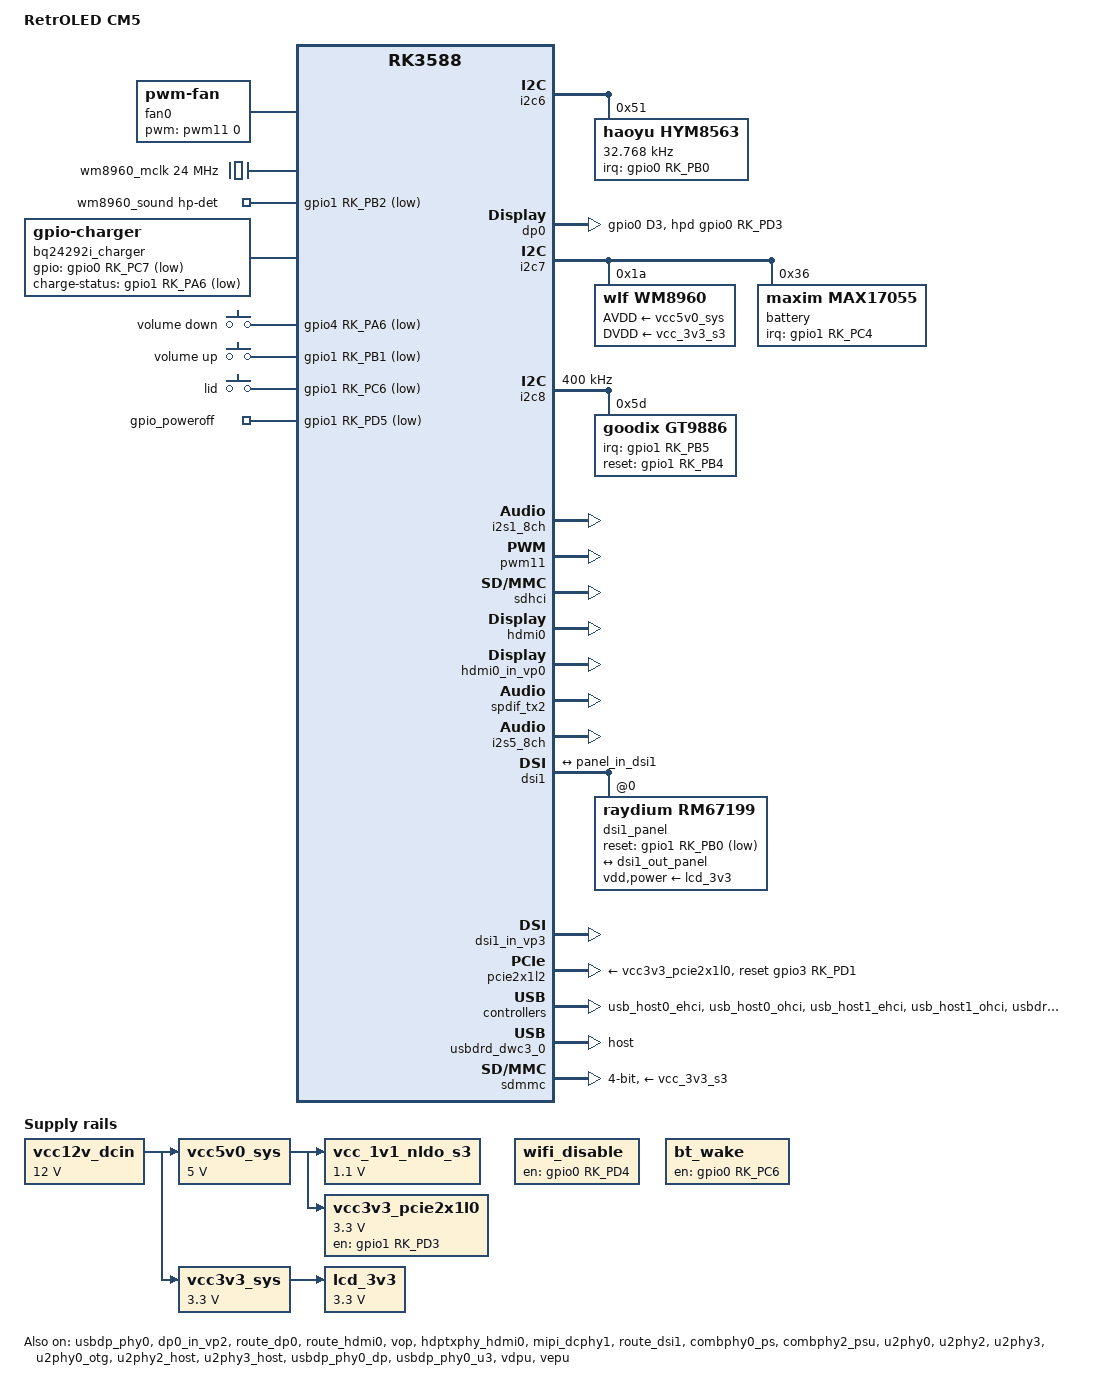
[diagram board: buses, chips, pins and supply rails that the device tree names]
// SPDX-License-Identifier: (GPL-2.0+ OR MIT)
/*
 * Copyright (c) 2024 StonedEdge and GinKage
 *
 */

/dts-v1/;

#include "rk3588s-radxa-cm5.dtsi"
#include <dt-bindings/interrupt-controller/irq.h>
#include <dt-bindings/gpio/gpio.h>
#include <dt-bindings/pinctrl/rockchip.h>

/ {
	model = "RetrOLED CM5";
	compatible = "retroled,cm5", "radxa,cm5", "rockchip,rk3588";

	/delete-node/ chosen;

	vcc12v_dcin: vcc12v-dcin {
		compatible = "regulator-fixed";
		regulator-name = "vcc12v_dcin";
		regulator-always-on;
		regulator-boot-on;
		regulator-min-microvolt = <12000000>;
		regulator-max-microvolt = <12000000>;
	};

	vcc5v0_sys: vcc5v0-sys {
		compatible = "regulator-fixed";
		regulator-name = "vcc5v0_sys";
		regulator-always-on;
		regulator-boot-on;
		regulator-min-microvolt = <5000000>;
		regulator-max-microvolt = <5000000>;
		vin-supply = <&vcc12v_dcin>;
	};

	vcc_1v1_nldo_s3: vcc-1v1-nldo-s3 {
		compatible = "regulator-fixed";
		regulator-name = "vcc_1v1_nldo_s3";
		regulator-always-on;
		regulator-boot-on;
		regulator-min-microvolt = <1100000>;
		regulator-max-microvolt = <1100000>;
		vin-supply = <&vcc5v0_sys>;
	};

	hdmi0_sound: hdmi0-sound {
		status = "okay";
		compatible = "rockchip,hdmi";
		rockchip,mclk-fs = <128>;
		rockchip,card-name = "rockchip-hdmi0";
		rockchip,cpu = <&i2s5_8ch>;
		rockchip,codec = <&hdmi0>;
		rockchip,jack-det;
	};

	dp0_sound: dp0-sound {
		status = "okay";
		compatible = "rockchip,hdmi";
		rockchip,card-name= "rockchip-hdmi1";
		rockchip,mclk-fs = <512>;
		rockchip,cpu = <&spdif_tx2>;
		rockchip,codec = <&dp0 1>;
		rockchip,jack-det;
	};

	vcc3v3_sys: vcc3v3-sys {
		compatible = "regulator-fixed";
		regulator-name = "vcc3v3_sys";
		regulator-always-on;
		regulator-boot-on;
		regulator-min-microvolt = <3300000>;
		regulator-max-microvolt = <3300000>;
		vin-supply = <&vcc12v_dcin>;
	};

	vcc3v3_pcie2x1l0: vcc3v3-pcie2x1l0 {
		compatible = "regulator-fixed";
		regulator-name = "vcc3v3_pcie2x1l0";
		regulator-min-microvolt = <3300000>;
		regulator-max-microvolt = <3300000>;
		enable-active-high;
		regulator-boot-on;
		regulator-always-on;
		gpios = <&gpio1 RK_PD3 GPIO_ACTIVE_HIGH>;
		startup-delay-us = <50000>;
		vin-supply = <&vcc5v0_sys>;
	};

	wifi_disable: wifi-diable-gpio-regulator {
		compatible = "regulator-fixed";
		regulator-name = "wifi_disable";
		enable-active-high;
		gpio = <&gpio0 RK_PD4 GPIO_ACTIVE_HIGH>;
		regulator-boot-on;
		regulator-always-on;
	};

	bt_wake: bt-wake-gpio-regulator {
		compatible = "regulator-fixed";
		regulator-name = "bt_wake";
		enable-active-high;
		gpio = <&gpio0 RK_PC6 GPIO_ACTIVE_HIGH>;
		regulator-boot-on;
		regulator-always-on;
	};

	fan0: pwm-fan {
		compatible = "pwm-fan";
		#cooling-cells = <2>;
		cooling-levels = <15 55 95 135 175 215 255>;
		pwms = <&pwm11 0 40000 0>;
	};

	wm8960_mclk: wm8960-mclk {
		compatible = "fixed-clock";
		#clock-cells = <0>;
		clock-frequency = <24000000>;
	};

	wm8960_sound: wm8960-sound {
		status = "okay";
		compatible = "simple-audio-card";
		simple-audio-card,format = "i2s";
		simple-audio-card,name = "wm8960-soundcard";
		simple-audio-card,mclk-fs = <256>;
		simple-audio-card,widgets =
			"Microphone", "Mic Jack",
			"Line", "Line In",
			"Line", "Line Out",
			"Speaker", "Speaker",
			"Headphone", "Headphone Jack";
		simple-audio-card,routing =
			"Headphone Jack", "HP_L",
			"Headphone Jack", "HP_R",
			"Speaker", "SPK_LP",
			"Speaker", "SPK_LN",
			"LINPUT1", "Mic Jack",
			"LINPUT3", "Mic Jack",
			"RINPUT1", "Mic Jack",
			"RINPUT2", "Mic Jack";
		pinctrl-0 = <&hp_det>;
		pinctrl-names = "default";
		simple-audio-card,hp-det-gpio = <&gpio1 RK_PB2 GPIO_ACTIVE_LOW>;
		simple-audio-card,hp-pin-name = "Headphone Jack";
		sac_cpu: simple-audio-card,cpu {
			sound-dai = <&i2s1_8ch>;
		};
		sac_codec: simple-audio-card,codec {
			sound-dai = <&wm8960>;
			clocks = <&wm8960_mclk>;
			clock-names = "mclk";
		};
	};

	lcd_3v3: lcd-3v3 {
		compatible = "regulator-fixed";
		regulator-name = "lcd_3v3";
		regulator-always-on;
		regulator-boot-on;
		regulator-min-microvolt = <3300000>;
		regulator-max-microvolt = <3300000>;
		vin-supply = <&vcc3v3_sys>;
	};

	bq24292i_charger: charger {
		compatible = "gpio-charger";
		charger-type = "usb-sdp";
		gpios = <&gpio0 RK_PC7 GPIO_ACTIVE_LOW>;
		charge-status-gpios = <&gpio1 RK_PA6 GPIO_ACTIVE_LOW>;
		pinctrl-names = "default";
		pinctrl-0 = <&bq24292i_gpio>;
	};

	gpio_keys: gpio-keys {
		compatible = "gpio-keys";
		pinctrl-names = "default";
		pinctrl-0 = <&volume_keys>;

		key-vol-down {
			label = "volume down";
			linux,code = <KEY_VOLUMEDOWN>;
			gpios = <&gpio4 RK_PA6 GPIO_ACTIVE_LOW>;
		};

		key-vol-up {
			label = "volume up";
			linux,code = <KEY_VOLUMEUP>;
			gpios = <&gpio1 RK_PB1 GPIO_ACTIVE_LOW>;
		};

		key-power {
			label = "lid";
			linux,code = <SW_LID>;
			linux,input-type = <EV_SW>;
			gpios = <&gpio1 RK_PC6 GPIO_ACTIVE_LOW>;
		};
	};

	gpio_poweroff: gpio-poweroff {
		compatible = "gpio-poweroff";
		pinctrl-names = "default";
		pinctrl-0 = <&poweroff_gpio>;
		gpios = <&gpio1 RK_PD5 GPIO_ACTIVE_LOW>;
	};
};

&i2c6 {
	status = "okay";
	pinctrl-names = "default";
	pinctrl-0 = <&i2c6m3_xfer>;

	hym8563: hym8563@51 {
		compatible = "haoyu,hym8563";
		reg = <0x51>;
		#clock-cells = <0>;
		clock-frequency = <32768>;
		clock-output-names = "hym8563";
		pinctrl-names = "default";
		pinctrl-0 = <&rtc_int>;
		interrupt-parent = <&gpio0>;
		interrupts = <RK_PB0 IRQ_TYPE_LEVEL_LOW>;
	};
};

&usbdp_phy0 {
	status = "okay";
	rockchip,dp-lane-mux = <0 1 3 2>;
};

&dp0 {
	// force-hpd;
	status = "okay";
	pinctrl-names = "default";
	pinctrl-0 = <&dp0_hpd>;
	hpd-gpios = <&gpio0 RK_PD3 GPIO_ACTIVE_HIGH>;
};

&dp0_in_vp2 {
	status = "okay";
};

&route_dp0 {
	status = "okay";
	connect = <&vp2_out_dp0>;
};

&i2c7 {
	status = "okay";
	pinctrl-names = "default";
	pinctrl-0 = <&i2c7m2_xfer>;
	#address-cells = <1>;
	#size-cells = <0>;

	wm8960: wm8960@1a {
		compatible = "wlf,wm8960";
		reg = <0x1a>;
		#sound-dai-cells = <0>;
		AVDD-supply = <&vcc5v0_sys>;
		DVDD-supply = <&vcc_3v3_s3>;
	};

	battery: battery@36 {
		compatible = "maxim,max17055";
		reg = <0x36>;
		interrupt-parent = <&gpio1>;
		interrupts = <RK_PC4 IRQ_TYPE_LEVEL_LOW>;
		pinctrl-names = "default";
		pinctrl-0 = <&fuel_gauge>;
		power-supplies = <&bq24292i_charger>;
		maxim,rsns-microohm = <10000>;
		maxim,over-heat-temp = <800>;
		maxim,dead-volt = <3100>;
		maxim,over-volt = <4300>;
	};
};

&i2c8 {
	status = "okay";
	pinctrl-names = "default";
	pinctrl-0 = <&i2c8m2_xfer>;
	clock-frequency = <400000>;
	#address-cells = <1>;
	#size-cells = <0>;

	gt9886: gt9886@5d {
		status = "okay";
		compatible = "goodix,gt9886";
		reg = <0x5d>;
		pinctrl-names = "default";
		pinctrl-0 = <&gtx8_gpio>;
		interrupt-parent = <&gpio1>;
		interrupts = <RK_PB5 IRQ_TYPE_EDGE_FALLING>;
		goodix,irq-gpio = <&gpio1 RK_PB5 GPIO_ACTIVE_HIGH>;
		goodix,reset-gpio = <&gpio1 RK_PB4 GPIO_ACTIVE_HIGH>;
		goodix,irq-flags = <2>; /* 1:trigger rising, 2:trigger falling;*/
		goodix,panel-max-x = <1080>;
		goodix,panel-max-y = <1920>;
		goodix,panel-max-w = <255>;
	};
};

&i2s1_8ch {
	status = "okay";
	rockchip,playback-channels = <2>;
	rockchip,capture-channels = <2>;
	rockchip,i2s-tx-route = <1 0 2 3>;
	rockchip,i2s-rx-route = <0 1 2 3>;
	#sound-dai-cells = <0>;
	pinctrl-names = "default";
	pinctrl-0 = <&i2s1m0_sclk
			&i2s1m0_lrck
			&i2s1m0_sdi0
			&i2s1m0_sdo1>;
};

&pwm11 {
	status = "okay";
	pinctrl-0 = <&pwm11m3_pins>;
};

&threshold {
	temperature = <50000>;
};

&soc_thermal {
	sustainable-power = <5000>; /* milliwatts */
	polling-delay = <1000>;
	polling-delay-passive = <2000>;
	trips {
		trip0: trip-point@0 {
			temperature = <55000>;
			hysteresis = <5000>;
			type = "active";
		};
		trip1: trip-point@1 {
			temperature = <60000>;
			hysteresis = <5000>;
			type = "active";
		};
		trip2: trip-point@2 {
			temperature = <65000>;
			hysteresis = <5000>;
			type = "active";
		};
		trip3: trip-point@3 {
			temperature = <70000>;
			hysteresis = <5000>;
			type = "active";
		};
		trip4: trip-point@4 {
			temperature = <75000>;
			hysteresis = <5000>;
			type = "active";
		};
		pcritical: trip-point@5 {
			temperature = <80000>;
			hysteresis = <5000>;
			type = "active";
		};
	};
	cooling-maps {
		map0 {
			trip = <&trip0>;
			cooling-device = <&fan0 0 1>;
			contribution = <1024>;
		};
		map1 {
			trip = <&trip1>;
			cooling-device = <&fan0 1 2>;
			contribution = <1024>;
		};
		map2 {
			trip = <&trip2>;
			cooling-device = <&fan0 2 3>;
			contribution = <1024>;
		};
		map3 {
			trip = <&trip3>;
			cooling-device = <&fan0 3 4>;
			contribution = <1024>;
		};
		map4 {
			trip = <&trip4>;
			cooling-device = <&fan0 4 5>;
			contribution = <1024>;
		};
		map5 {
			trip = <&pcritical>;
			cooling-device = <&fan0 5 6>;
			contribution = <1024>;
		};
	};
};

&sdhci {
	status = "okay";
};

&hdmi0 {
	status = "okay";
};

&hdmi0_in_vp0 {
	status = "okay";
};

&route_hdmi0 {
	status = "okay";
};

&spdif_tx2 {
	status = "okay";
};

&i2s5_8ch {
	status = "okay";
};

&vop {
	status = "okay";
	vop-supply = <&vdd_log_s0>;
};

&vop_mmu {
	status = "okay";
};

&vp0 {
	rockchip,plane-mask = <(1 << ROCKCHIP_VOP2_CLUSTER0 | 1 << ROCKCHIP_VOP2_ESMART0)>;
	rockchip,primary-plane = <ROCKCHIP_VOP2_CLUSTER0>;
	cursor-win-id = <ROCKCHIP_VOP2_ESMART0>;
};

&vp1 {
	rockchip,plane-mask = <(1 << ROCKCHIP_VOP2_CLUSTER1 | 1 << ROCKCHIP_VOP2_ESMART1)>;
	rockchip,primary-plane = <ROCKCHIP_VOP2_CLUSTER1>;
	cursor-win-id = <ROCKCHIP_VOP2_ESMART1>;
};

&vp2 {
	rockchip,plane-mask = <(1 << ROCKCHIP_VOP2_CLUSTER2 | 1 << ROCKCHIP_VOP2_ESMART2)>;
	rockchip,primary-plane = <ROCKCHIP_VOP2_CLUSTER2>;
	cursor-win-id = <ROCKCHIP_VOP2_ESMART2>;
};

&vp3 {
	rockchip,plane-mask = <(1 << ROCKCHIP_VOP2_CLUSTER3 | 1 << ROCKCHIP_VOP2_ESMART3)>;
	rockchip,primary-plane = <ROCKCHIP_VOP2_CLUSTER3>;
	cursor-win-id = <ROCKCHIP_VOP2_ESMART3>;
};

&display_subsystem {
	clocks = <&hdptxphy_hdmi0>;
	clock-names = "hdmi0_phy_pll";
};

&hdptxphy_hdmi0 {
	status = "okay";
};

&dsi1 {
	status = "okay";
	//rockchip,lane-rate = <550>;
	#address-cells = <1>;
	#size-cells = <0>;

	dsi1_panel: panel@0 {
		status = "okay";
		compatible = "raydium,rm67199";
		reg = <0>;

		vdd-supply = <&lcd_3v3>;
		power-supply = <&lcd_3v3>;
		reset-gpios = <&gpio1 RK_PB0 GPIO_ACTIVE_LOW>;
		rotation = <270>;
		pinctrl-names = "default";
		pinctrl-0 = <&dsi1_lcd_rst_gpio>;

		dsi-lanes = <4>;
		video-mode = <2>;	/* 0: burst mode
					 * 1: non-burst mode with sync event
					 * 2: non-burst mode with sync pulse
					 */
		width-mm = <68>;
		height-mm = <121>;

		disp_timings0: display-timings {
			native-mode = <&dsi1_timing0>;
			dsi1_timing0: timing0 {
				clock-frequency = <133710720>;
				hactive = <1080>;
				vactive = <1920>;
				hfront-porch = <26>;
				hsync-len = <2>;
				hback-porch = <36>;
				vfront-porch = <8>;
				vsync-len = <4>;
				vback-porch = <16>;
				hsync-active = <0>;
				vsync-active = <0>;
				de-active = <0>;
				pixelclk-active = <0>;
			};
		};

		ports {
			#address-cells = <1>;
			#size-cells = <0>;

			port@0 {
				reg = <0>;
				panel_in_dsi1: endpoint {
					remote-endpoint = <&dsi1_out_panel>;
				};
			};
		};
	};

	ports {
		#address-cells = <1>;
		#size-cells = <0>;

		port@1 {
			reg = <1>;
			dsi1_out_panel: endpoint {
				remote-endpoint = <&panel_in_dsi1>;
			};
		};
	};
};

&mipi_dcphy1 {
	status = "okay";
};

&route_dsi1 {
	status = "okay";
	connect = <&vp3_out_dsi1>;
};

&dsi1_in_vp2 {
	status = "disabled";
};

&dsi1_in_vp3 {
	status = "okay";
};

&pinctrl {
	headphone {
		hp_det: hp-det {
			rockchip,pins = <1 RK_PB2 RK_FUNC_GPIO &pcfg_pull_up>;
		};
	};

	hym8563 {
		rtc_int: rtc-int {
			rockchip,pins = <0 RK_PB0 RK_FUNC_GPIO &pcfg_pull_up>;
		};
	};

	dsi1-lcd {
		dsi1_lcd_rst_gpio: dsi1-lcd-rst-gpio {
			rockchip,pins =
				//<1 RK_PA4 RK_FUNC_GPIO &pcfg_pull_up>,
				<1 RK_PB0 RK_FUNC_GPIO &pcfg_pull_up>;
		};
	};

	gtx8 {
		gtx8_gpio: gtx8-gpio {
			rockchip,pins =
				<1 RK_PB4 RK_FUNC_GPIO &pcfg_pull_up>,
				<1 RK_PB5 RK_FUNC_GPIO &pcfg_pull_none>;
		};
	};

	bq24292i {
		bq24292i_gpio: bq24292i-gpio {
			rockchip,pins =
				<0 RK_PC7 RK_FUNC_GPIO &pcfg_pull_up>,
				<1 RK_PA6 RK_FUNC_GPIO &pcfg_pull_up>;
		};
	};

	dp {
		dp0_hpd: dp0-hpd {
			rockchip,pins = <0 RK_PD3 RK_FUNC_GPIO &pcfg_pull_none>;
		};
	};

	gpio-key {
		volume_keys: volume-keys {
			rockchip,pins =
				<4 RK_PA6 RK_FUNC_GPIO &pcfg_pull_up>,
				<1 RK_PB1 RK_FUNC_GPIO &pcfg_pull_up>,
				<1 RK_PC6 RK_FUNC_GPIO &pcfg_pull_up>;
		};
	};

	poweroff {
		poweroff_gpio: poweroff-gpio {
			rockchip,pins = <1 RK_PD5 RK_FUNC_GPIO &pcfg_pull_up>;
		};
	};

	gauge {
		fuel_gauge: fuel-gauge {
			rockchip,pins = <1 RK_PC4 RK_FUNC_GPIO &pcfg_pull_none>;
		};
	};
};

&pcie2x1l2 {
	reset-gpios = <&gpio3 RK_PD1 GPIO_ACTIVE_HIGH>;
	vpcie3v3-supply = <&vcc3v3_pcie2x1l0>;
	status = "okay";
};

&combphy0_ps {
	status = "okay";
};

&combphy2_psu {
	status = "okay";
};

&u2phy0 {
	status = "okay";
};

&u2phy2 {
	status = "okay";
};

&u2phy3 {
	status = "okay";
};

&u2phy0_otg {
	// rockchip,typec-vbus-det;
	/delete-property/ rockchip,usbctrl-grf;
	status = "okay";
	phy-supply = <&vcc5v0_sys>;
};

&u2phy2_host {
	status = "okay";
	phy-supply = <&vcc5v0_sys>;
};

&u2phy3_host {
	status = "okay";
	phy-supply = <&vcc5v0_sys>;
};

&usb_host0_ehci {
	status = "okay";
};

&usb_host0_ohci {
	status = "okay";
};

&usb_host1_ehci {
	status = "okay";
};

&usb_host1_ohci {
	status = "okay";
};

&usbdp_phy0_dp {
	status = "okay";
};

&usbdp_phy0_u3 {
	status = "okay";
};

&usbdrd3_0 {
	status = "okay";
};

&usbdrd_dwc3_0 {
	dr_mode = "host";
	status = "okay";
	extcon = <&u2phy2>;
};

&usbhost3_0 {
	status = "okay";
};

&usbhost_dwc3_0 {
	status = "okay";
};

&sdmmc {
	max-frequency = <200000000>;
	no-sdio;
	no-mmc;
	bus-width = <4>;
	cap-mmc-highspeed;
	cap-sd-highspeed;
	disable-wp;
	sd-uhs-sdr104;
	vmmc-supply = <&vcc_3v3_s3>;
	vqmmc-supply = <&vccio_sd_s0>;
	pinctrl-names = "default";
	pinctrl-0 = <&sdmmc_bus4 &sdmmc_clk &sdmmc_cmd &sdmmc_det>;
	status = "okay";
};

&rockchip_suspend {
	compatible = "rockchip,pm-rk3588";
	status = "okay";
	rockchip,sleep-debug-en = <1>;
	rockchip,sleep-mode-config = <
		(0
		| RKPM_SLP_ARMOFF_DDRPD
		)
	>;
	rockchip,wakeup-config = <
		(0
		| RKPM_GPIO_WKUP_EN
		)
	>;
};

&vdpu {
	status = "okay";
};

&vdpu_mmu {
	status = "okay";
};

&vepu {
	status = "okay";
};

&rknpu {
	status = "disabled";
};

&rknpu_mmu {
	status = "disabled";
};

